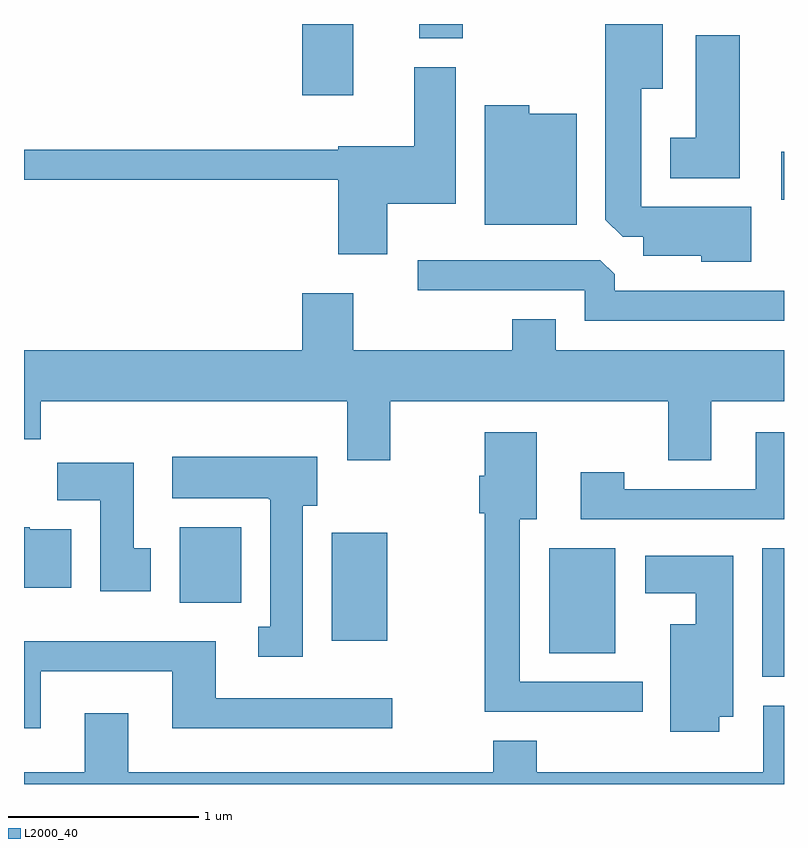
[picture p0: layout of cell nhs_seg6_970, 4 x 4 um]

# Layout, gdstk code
import gdstk
lib = gdstk.Library(unit=1e-6, precision=1e-09)
def R(c, l, rs):  # rectangles x0, y0, x1, y1
    for r in rs: c.add(gdstk.rectangle(r[:2], r[2:], *l))
def P(c, l, *ps):  # polygons
    for p in ps: c.add(gdstk.Polygon(p, *l))
L2000_40 = (2000, 40)

nhs_seg6_970 = lib.new_cell('nhs_seg6_970')
R(nhs_seg6_970, L2000_40, [(217.496,1630.726,217.611,1631.404), (216.376,1630.851,216.724,1631.404), (215.231,1630.916,215.524,1631.484), (214.431,1631.116,214.754,1631.514), (217.596,1633.236,217.611,1633.489), (215.076,1633.786,215.344,1634.162), (215.691,1634.086,215.919,1634.162)])
P(nhs_seg6_970, L2000_40, [(217.439,1633.199),(216.859,1633.199),(216.859,1633.821),(216.974,1633.821),(216.974,1634.162),(216.671,1634.162),(216.671,1633.132),(216.762,1633.041),(216.871,1633.041),(216.871,1632.941),(217.176,1632.941),(217.176,1632.911),(217.439,1632.911)],
  [(217.379,1634.104),(217.146,1634.104),(217.146,1633.564),(217.011,1633.564),(217.011,1633.351),(217.379,1633.351)],
  [(215.524,1633.216),(215.884,1633.216),(215.884,1633.934),(215.666,1633.934),(215.666,1633.519),(215.266,1633.519),(215.266,1633.499),(213.611,1633.499),(213.611,1633.341),(215.266,1633.341),(215.266,1632.951),(215.524,1632.951)],
  [(216.519,1633.689),(216.269,1633.689),(216.269,1633.734),(216.036,1633.734),(216.036,1633.106),(216.519,1633.106)],
  [(217.611,1632.759),(216.719,1632.759),(216.719,1632.844),(216.644,1632.919),(215.683,1632.919),(215.683,1632.761),(216.561,1632.761),(216.561,1632.601),(217.611,1632.601)],
  [(215.539,1632.176),(217.001,1632.176),(217.001,1631.866),(217.229,1631.866),(217.229,1632.176),(217.611,1632.176),(217.611,1632.444),(216.409,1632.444),(216.409,1632.609),(216.181,1632.609),(216.181,1632.444),(215.344,1632.444),(215.344,1632.744),(215.076,1632.744),(215.076,1632.444),(213.611,1632.444),(213.611,1631.976),(213.699,1631.976),(213.699,1632.176),(215.311,1632.176),(215.311,1631.866),(215.539,1631.866)],
  [(217.611,1632.014),(217.461,1632.014),(217.461,1631.714),(216.769,1631.714),(216.769,1631.804),(216.541,1631.804),(216.541,1631.556),(217.611,1631.556)],
  [(216.868,1630.699),(216.219,1630.699),(216.219,1631.556),(216.309,1631.556),(216.309,1632.014),(216.036,1632.014),(216.036,1631.784),(216.006,1631.784),(216.006,1631.586),(216.036,1631.586),(216.036,1630.541),(216.868,1630.541)],
  [(215.079,1631.626),(215.154,1631.626),(215.154,1631.884),(214.391,1631.884),(214.391,1631.666),(214.9,1631.666),(214.9,1631.66),(214.906,1631.66),(214.906,1630.989),(214.843,1630.989),(214.843,1630.831),(215.079,1630.831)],
  [(214.279,1631.404),(214.189,1631.404),(214.189,1631.854),(213.786,1631.854),(213.786,1631.656),(214.011,1631.656),(214.011,1631.176),(214.279,1631.176)],
  [(213.859,1631.504),(213.64,1631.504),(213.64,1631.514),(213.611,1631.514),(213.611,1631.196),(213.859,1631.196)],
  [(217.269,1630.516),(217.344,1630.516),(217.344,1631.364),(216.881,1631.364),(216.881,1631.166),(217.146,1631.166),(217.146,1631.004),(217.011,1631.004),(217.011,1630.436),(217.269,1630.436)],
  [(213.699,1630.756),(214.391,1630.756),(214.391,1630.456),(215.548,1630.456),(215.548,1630.614),(214.619,1630.614),(214.619,1630.914),(213.611,1630.914),(213.611,1630.456),(213.699,1630.456)],
  [(217.611,1630.574),(217.501,1630.574),(217.501,1630.224),(216.309,1630.224),(216.309,1630.389),(216.081,1630.389),(216.081,1630.224),(214.159,1630.224),(214.159,1630.534),(213.931,1630.534),(213.931,1630.224),(213.611,1630.224),(213.611,1630.162),(217.611,1630.162)])

lib.write_gds('nhs_seg6_970.gds')
